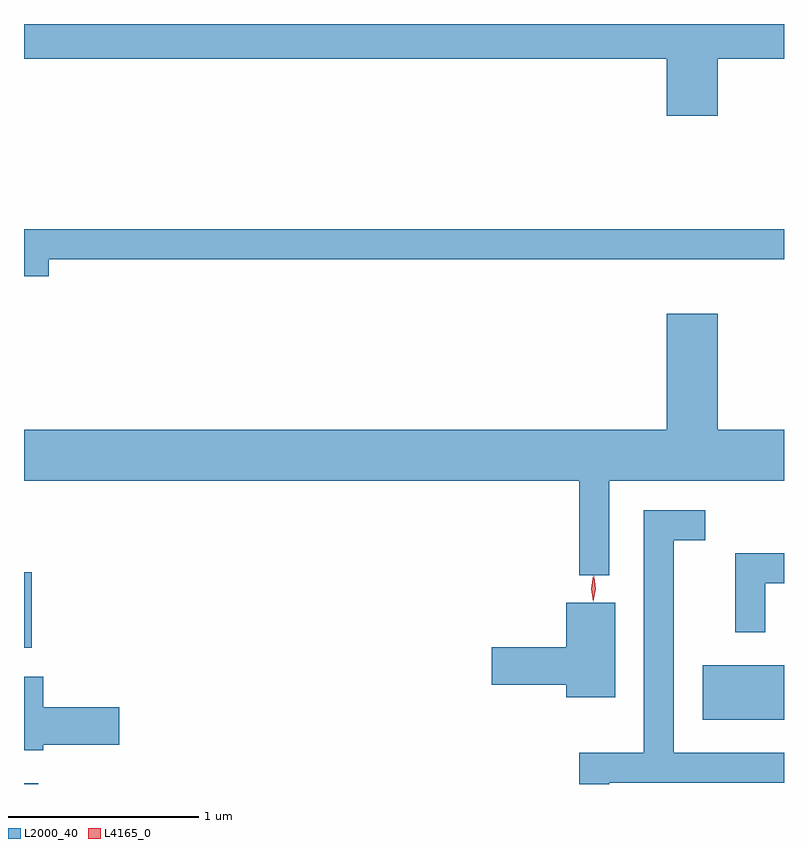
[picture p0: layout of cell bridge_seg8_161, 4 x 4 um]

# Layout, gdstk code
import gdstk
lib = gdstk.Library(unit=1e-6, precision=1e-09)
def R(c, l, rs):  # rectangles x0, y0, x1, y1
    for r in rs: c.add(gdstk.rectangle(r[:2], r[2:], *l))
def P(c, l, *ps):  # polygons
    for p in ps: c.add(gdstk.Polygon(p, *l))
L2000_40 = (2000, 40)
L4165_0 = (4165, 0)

bridge_seg8_161 = lib.new_cell('bridge_seg8_161')
R(bridge_seg8_161, L2000_40, [(1430.473,1934.719,1430.549,1934.724), (1434.046,1935.056,1434.473,1935.344), (1430.473,1935.436,1430.514,1935.833)])
P(bridge_seg8_161, L2000_40, [(1434.124,1938.536),(1434.473,1938.536),(1434.473,1938.719),(1430.473,1938.719),(1430.473,1938.536),(1433.856,1938.536),(1433.856,1938.236),(1434.124,1938.236)],
  [(1430.604,1937.481),(1434.473,1937.481),(1434.473,1937.639),(1430.473,1937.639),(1430.473,1937.391),(1430.604,1937.391)],
  [(1433.554,1936.316),(1434.473,1936.316),(1434.473,1936.584),(1434.124,1936.584),(1434.124,1937.194),(1433.856,1937.194),(1433.856,1936.584),(1430.473,1936.584),(1430.473,1936.316),(1433.396,1936.316),(1433.396,1935.818),(1433.554,1935.818)],
  [(1433.554,1934.726),(1434.473,1934.726),(1434.473,1934.884),(1433.894,1934.884),(1433.894,1936.001),(1434.058,1936.001),(1434.058,1936.159),(1433.736,1936.159),(1433.736,1934.884),(1433.396,1934.884),(1433.396,1934.719),(1433.554,1934.719)],
  [(1434.374,1935.776),(1434.473,1935.776),(1434.473,1935.934),(1434.216,1935.934),(1434.216,1935.518),(1434.374,1935.518)],
  [(1433.584,1935.674),(1433.326,1935.674),(1433.326,1935.439),(1432.936,1935.439),(1432.936,1935.241),(1433.326,1935.241),(1433.326,1935.176),(1433.584,1935.176)],
  [(1430.574,1934.926),(1430.974,1934.926),(1430.974,1935.124),(1430.574,1935.124),(1430.574,1935.284),(1430.473,1935.284),(1430.473,1934.896),(1430.574,1934.896)])
P(bridge_seg8_161, L4165_0, [(1433.468,1935.678),(1433.468,1935.678),(1433.458,1935.746),(1433.468,1935.815),(1433.468,1935.815),(1433.469,1935.815),(1433.478,1935.746),(1433.469,1935.678)],
  [(1433.468,1935.68),(1433.468,1935.681),(1433.461,1935.746),(1433.473,1935.811),(1433.474,1935.812),(1433.474,1935.811),(1433.481,1935.746),(1433.469,1935.681)])

lib.write_gds('bridge_seg8_161.gds')
